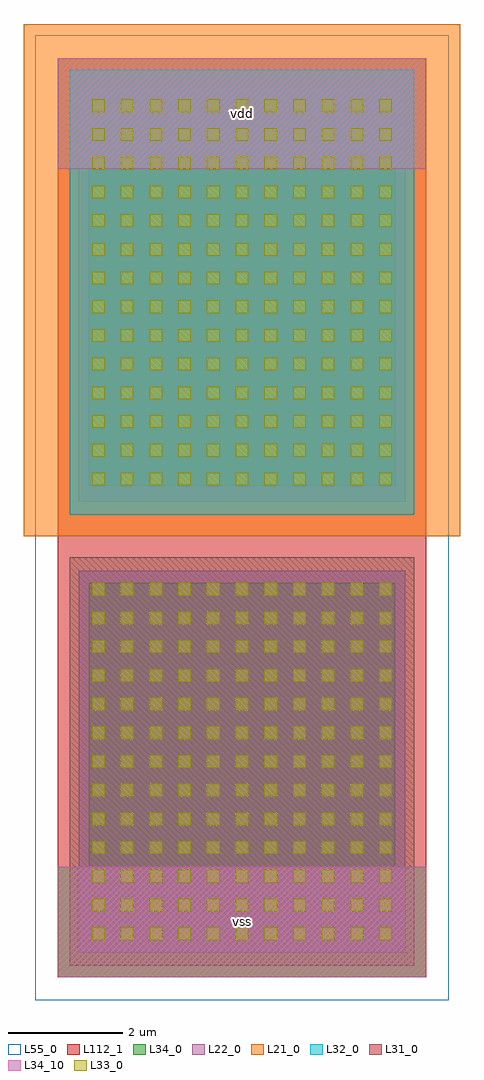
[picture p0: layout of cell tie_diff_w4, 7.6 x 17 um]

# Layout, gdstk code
import gdstk
lib = gdstk.Library(unit=1e-6, precision=1e-09)
def R(c, l, rs):  # rectangles x0, y0, x1, y1
    for r in rs: c.add(gdstk.rectangle(r[:2], r[2:], *l))
def A(c, l, x, y, w, h, nx, ny, dx, dy):  # array of equal rectangles
    R(c, l, [(x+i*dx, y+j*dy, x+i*dx+w, y+j*dy+h) for i in range(nx) for j in range(ny)])
def P(c, l, *ps):  # polygons
    for p in ps: c.add(gdstk.Polygon(p, *l))
L21_0 = (21, 0)
L22_0 = (22, 0)
L31_0 = (31, 0)
L32_0 = (32, 0)
L33_0 = (33, 0)
L34_0 = (34, 0)
L34_10 = (34, 10)
L55_0 = (55, 0)
L112_1 = (112, 1)

tie_diff_w4 = lib.new_cell('tie_diff_w4')
R(tie_diff_w4, L21_0, [(-0.6,7.68,7,16.6)])
R(tie_diff_w4, L22_0, [(0.36,0.43,6.04,7.08), (0.36,8.28,6.04,15.57)])
R(tie_diff_w4, L31_0, [(0.2,0.2,6.2,7.31)])
R(tie_diff_w4, L32_0, [(0.2,8.05,6.2,15.8)])
A(tie_diff_w4, L33_0, 0.59, 0.645, 0.22, 0.22, 11, 13, 0.5, 0.5)
A(tie_diff_w4, L33_0, 0.59, 8.565, 0.22, 0.22, 11, 14, 0.5, 0.5)
P(tie_diff_w4, L34_0, [(0.53,8.56),(0.53,14.08),(0,14.08),(0,16),(6.4,16),(6.4,14.08),(5.87,14.08),(5.87,8.56)],
  [(0,0),(0,1.92),(0.53,1.92),(0.53,6.87),(5.87,6.87),(5.87,1.92),(6.4,1.92),(6.4,0)])
R(tie_diff_w4, L34_10, [(0,0,6.4,1.92), (0,14.08,6.4,16)])
R(tie_diff_w4, L55_0, [(-0.4,-0.4,6.8,16.4)])
R(tie_diff_w4, L112_1, [(-0.005,-0.005,6.405,16.005)])
tie_diff_w4.add(gdstk.Label('vdd', (3.2,15.04), layer=34, texttype=10))
tie_diff_w4.add(gdstk.Label('vss', (3.2,0.96), layer=34, texttype=10))

lib.write_gds('tie_diff_w4.gds')
